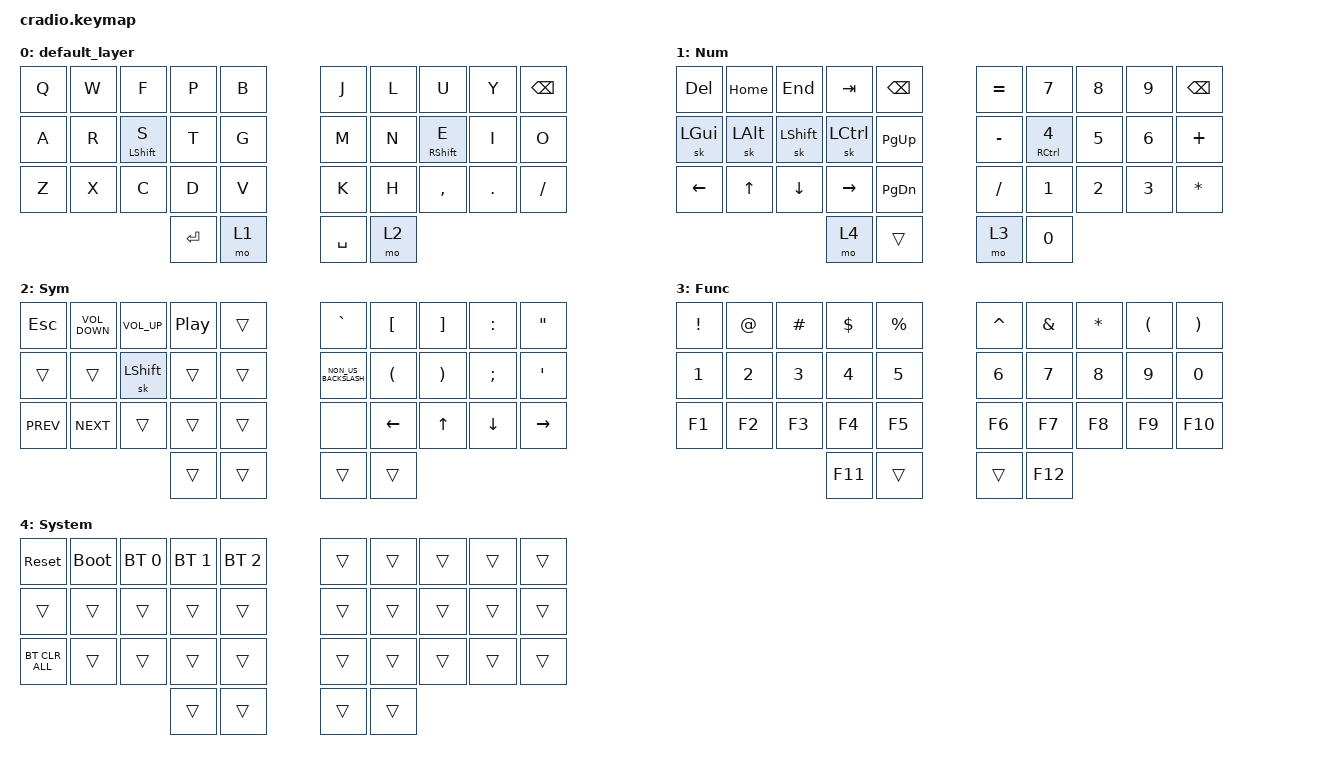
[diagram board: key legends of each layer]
/*
 * Copyright (c) 2020 The ZMK Contributors
 *
 * SPDX-License-Identifier: MIT
 */

#undef ZMK_BEHAVIORS_KEEP_ALL

#include <behaviors.dtsi>
#include <dt-bindings/zmk/bt.h>
#include <dt-bindings/zmk/keys.h>

#define NAV_L 1
#define OTHER_L 2
#define NUM_L 3
#define SYM_L 4

// Using layer taps on thumbs, having quick tap as well helps w/ repeating space/backspace

&lt { quick-tap-ms = <200>; };

/ {
    behaviors {
        hm: homerow_mods {
            compatible = "zmk,behavior-hold-tap";
            #binding-cells = <2>;
            tapping-term-ms = <200>;
            flavor = "tap-preferred";
            bindings = <&kp>, <&kp>;
        };
    };

    combos {
        compatible = "zmk,combos";

        copy {
            bindings = <&kp LC(C)>;
            key-positions = <22 21>;
        };

        paste {
            bindings = <&kp LC(V)>;
            key-positions = <23 22>;
        };

        undo {
            bindings = <&kp LC(Z)>;
            key-positions = <20 21>;
        };

        capsword {
            bindings = <&caps_word>;
            key-positions = <10 19>;
        };

        esc {
            bindings = <&kp ESCAPE>;
            key-positions = <0 1>;
        };

        lock {
            bindings = <&kp LG(L)>;
            key-positions = <0 20 9 29>;
        };

        select_all {
            bindings = <&kp LC(A)>;
            key-positions = <20 23>;
        };

        delete {
            bindings = <&kp DEL>;
            key-positions = <10 0>;
        };
    };

    keymap {
        compatible = "zmk,keymap";

        default_layer {
            bindings = <
&kp Q  &kp W  &kp F             &kp P      &kp B    &kp J      &kp L  &kp U              &kp Y    &kp BACKSPACE
&kp A  &kp R  &hm LEFT_SHIFT S  &kp T      &kp G    &kp M      &kp N  &hm RIGHT_SHIFT E  &kp I    &kp O
&kp Z  &kp X  &kp C             &kp D      &kp V    &kp K      &kp H  &kp COMMA          &kp DOT  &kp FSLH
                                &kp ENTER  &mo 1    &kp SPACE  &mo 2
            >;
        };

        Num {
            bindings = <
&kp DELETE    &kp HOME      &kp END         &kp TAB           &kp BACKSPACE    &kp EQUAL  &kp N7                      &kp N8        &kp N9        &kp BACKSPACE
&sk LEFT_GUI  &sk LEFT_ALT  &sk LEFT_SHIFT  &sk LEFT_CONTROL  &kp PAGE_UP      &kp MINUS  &hm RIGHT_CONTROL NUMBER_4  &kp NUMBER_5  &kp NUMBER_6  &kp PLUS
&kp LEFT      &kp UP        &kp DOWN        &kp RIGHT         &kp PAGE_DOWN    &kp FSLH   &kp NUMBER_1                &kp NUMBER_2  &kp NUMBER_3  &kp ASTRK
                                            &mo 4             &trans           &mo 3      &kp N0
            >;
        };

        Sym {
            bindings = <
&kp ESCAPE  &kp C_VOLUME_DOWN  &kp C_VOLUME_UP  &kp C_PLAY_PAUSE  &trans    &kp GRAVE             &kp LEFT_BRACKET      &kp RIGHT_BRACKET      &kp COLON      &kp DOUBLE_QUOTES
&trans      &trans             &sk LEFT_SHIFT   &trans            &trans    &kp NON_US_BACKSLASH  &kp LEFT_PARENTHESIS  &kp RIGHT_PARENTHESIS  &kp SEMICOLON  &kp SQT
&kp C_PREV  &kp C_NEXT         &trans           &trans            &trans    &none                 &kp LEFT              &kp UP_ARROW           &kp DOWN       &kp RIGHT
                                                &trans            &trans    &trans                &trans
            >;
        };

        Func {
            bindings = <
&kp EXCLAMATION  &kp AT_SIGN  &kp HASH  &kp DOLLAR  &kp PERCENT    &kp CARET  &kp AMPERSAND  &kp ASTERISK  &kp LEFT_PARENTHESIS  &kp RIGHT_PARENTHESIS
&kp N1           &kp N2       &kp N3    &kp N4      &kp N5         &kp N6     &kp N7         &kp N8        &kp N9                &kp N0
&kp F1           &kp F2       &kp F3    &kp F4      &kp F5         &kp F6     &kp F7         &kp F8        &kp F9                &kp F10
                                        &kp F11     &trans         &trans     &kp F12
            >;
        };

        System {
            bindings = <
&sys_reset      &bootloader  &bt BT_SEL 0  &bt BT_SEL 1  &bt BT_SEL 2    &trans  &trans  &trans  &trans  &trans
&trans          &trans       &trans        &trans        &trans          &trans  &trans  &trans  &trans  &trans
&bt BT_CLR_ALL  &trans       &trans        &trans        &trans          &trans  &trans  &trans  &trans  &trans
                                           &trans        &trans          &trans  &trans
            >;
        };
    };
};
